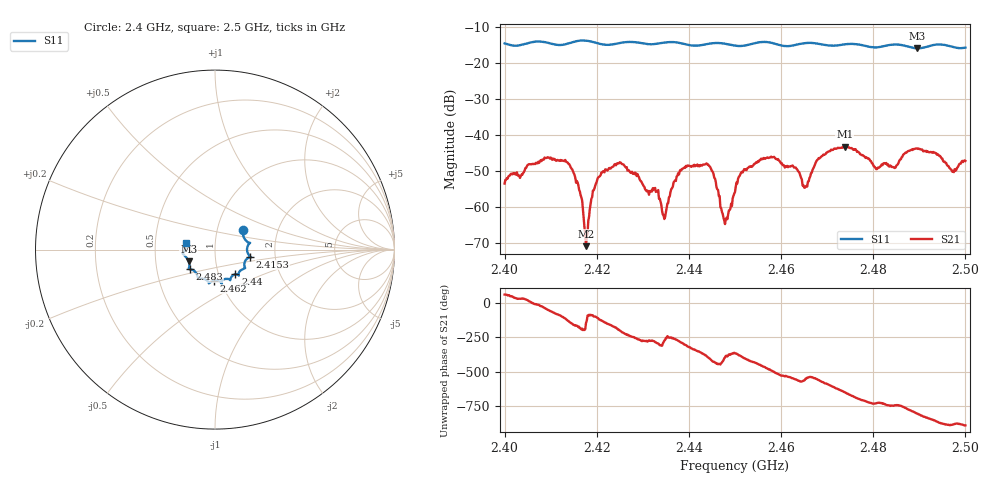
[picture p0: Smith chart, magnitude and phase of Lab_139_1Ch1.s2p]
# Hz S RI R 50
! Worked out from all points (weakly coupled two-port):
!   601 points, 2.4 GHz to 2.5 GHz, reference 50 ohm
!   highest |S21| = -43.25 dB at 2.4738 GHz (marker M1); lowest = -70.9 dB at 2.4177 GHz (marker M2)
!   lowest |S11| = -15.9 dB at 2.4895 GHz (marker M3), VSWR 1.38, Z = 37 - j5 ohm
!   |S11| at or under -10 dB: start of sweep to end of sweep
!   S12 and S22 are empty: the file has one direction only
!   S11 on the Smith chart (normalised r, x): 2.4 GHz: 1.33, +0.29; 2.4153 GHz: 1.48, -0.12; 2.44 GHz: 1.20, -0.34; 2.462 GHz: 0.93, -0.33; 2.483 GHz: 0.74, -0.17; 2.5 GHz: 0.72, +0.06
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2.4e9  0.1553 0.1065  0.000996 0.00187  0 0  0 0
2.409167e9  0.1905 0.0327  0.00345 -0.00339  0 0  0 0
2.415333e9  0.1962 -0.0387  -0.00248 -0.000642  0 0  0 0
2.416667e9  0.2018 -0.0427  -0.00133 0.000281  0 0  0 0
2.417667e9  0.2006 -0.0423  -0.000234 -0.000164  0 0  0 0
2.420167e9  0.1829 -0.0467  -0.000763 -0.00236  0 0  0 0
2.424333e9  0.1632 -0.0902  -0.00397 0.000326  0 0  0 0
2.433333e9  0.1313 -0.1336  0.000712 0.00157  0 0  0 0
2.434667e9  0.1306 -0.1421  4.14e-05 0.000679  0 0  0 0
2.44e9  0.1141 -0.137  0.00289 0.00239  0 0  0 0
2.444667e9  0.0848 -0.1672  0.0023 -0.0027  0 0  0 0
2.447833e9  0.0817 -0.1668  0.000465 -0.000345  0 0  0 0
2.45e9  0.0646 -0.1628  0.00161 -0.000142  0 0  0 0
2.455833e9  0.0379 -0.1929  -0.000574 -0.00458  0 0  0 0
2.462e9  -0.00531 -0.1732  -0.00364 1.62e-05  0 0  0 0
2.465167e9  -0.0324 -0.1866  -0.00175 0.000621  0 0  0 0
2.466667e9  -0.0343 -0.1878  -0.003 -2.57e-06  0 0  0 0
2.473833e9  -0.0864 -0.1607  0.0023 0.00648  0 0  0 0
2.483e9  -0.1376 -0.1095  0.00354 -0.00157  0 0  0 0
2.483333e9  -0.1402 -0.1093  0.00335 -0.00155  0 0  0 0
2.4895e9  -0.1463 -0.0659  0.000549 -0.00649  0 0  0 0
2.5e9  -0.1596 0.0389  -0.00433 -0.000667  0 0  0 0
